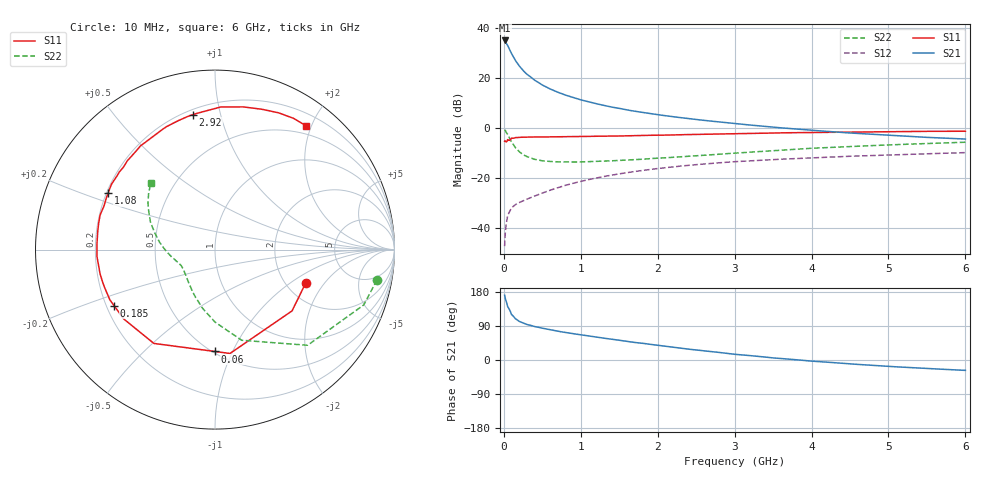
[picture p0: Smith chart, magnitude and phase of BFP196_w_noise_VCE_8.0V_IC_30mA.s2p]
! Infineon Technologies  Discrete & RF Semiconductors
! BFP196
! VCE = 8.0 V,  IC =  30mA
! Common Emitter S-Parameters:  Jan 2016
# GHz  S  MA  R  50
!  f  S11  S21  S12  S22
! GHz  MAG  ANG  MAG  ANG  MAG  ANG  MAG  ANG
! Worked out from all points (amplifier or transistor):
!   210 points, 10 MHz to 6 GHz, reference 50 ohm
!   highest |S21| = 35.0 dB at 10 MHz (marker M1)
!   |S21| within 3 dB of that: start of sweep to 65.58 MHz
!   unconditionally stable (mu >= 1): 618.7 MHz to 4.586 GHz
!   at 185 MHz: K = 0.55, MSG = 27.8 dB, |S12| = -30.1 dB
!   at 1.52 GHz: K = 1.09, MAG = 11.1 dB, |S12| = -18.3 dB
!   at 6 GHz: K = 0.97, MSG = 2.7 dB, |S12| = -9.9 dB
!   lowest NFmin = 1.40 dB at 500 MHz
!   S11 on the Smith chart (normalised r, x): 10 MHz: 2.56, -1.33; 60 MHz: 0.51, -0.86; 185 MHz: 0.23, -0.25; 1.08 GHz: 0.21, +0.24; 2.92 GHz: 0.23, +0.82; 6 GHz: 0.37, +1.93
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0.01  0.539 -19.9  56.09 171.0  0.0043 81.8  0.9182 -10.6
0.02  0.5485 -38.5  53.36 161.6  0.0085 72.8  0.8843 -20.4
0.05  0.5847 -81.8  44.52 140.8  0.0176 59.1  0.742 -45.9
0.06  0.5675 -90.1  41.4 137.8  0.019 56.1  0.6886 -50.0
0.1  0.6239 -123.1  30.6 120.0  0.0251 47.6  0.5267 -73.6
0.15  0.6387 -142.8  22.26 108.8  0.0291 43.3  0.4036 -90.0
0.185  0.6433 -151.0  18.8 104.3  0.0311 43.7  0.3537 -97.8
0.2  0.6492 -154.4  17.37 101.9  0.032 43.9  0.3348 -101.8
0.24  0.6502 -161.0  14.68 98.2  0.0342 45.2  0.2991 -109.1
0.3  0.6543 -168.1  11.82 93.7  0.0375 47.3  0.2669 -117.8
0.4  0.6588 -176.7  8.995 88.3  0.0433 50.6  0.2351 -128.7
0.5  0.6584 177.4  7.199 83.9  0.0495 52.8  0.2197 -136.5
0.7  0.6648 167.1  5.179 75.8  0.0634 55.3  0.2089 -145.9
1.02  0.6709 154.0  3.574 65.7  0.0863 55.9  0.2088 -154.9
1.08  0.6741 152.1  3.38 63.9  0.0907 55.7  0.2107 -156.2
1.6  0.695 134.8  2.285 49.1  0.1271 51.2  0.2283 -164.8
2.02  0.7136 122.4  1.819 38.4  0.1549 46.1  0.2481 -171.6
2.92  0.7615 99.3  1.256 17.1  0.2063 34.4  0.3064 173.5
3.1  0.7699 95.5  1.178 13.4  0.2147 31.9  0.3192 170.5
4.1  0.812 77.4  0.873 -4.3  0.255 19.9  0.3972 155.5
5.1  0.842 63.9  0.699 -18.0  0.2905 9.0  0.4619 143.8
6  0.8566 53.5  0.598 -27.4  0.3199 -0.8  0.516 133.8
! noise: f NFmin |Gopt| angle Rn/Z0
0.5  1.4  0.4  -173  0.08
0.9  1.6  0.5  -166  0.08
1.5  2.4  0.61  -150  0.14
2  2.9  0.71  -129  0.2
